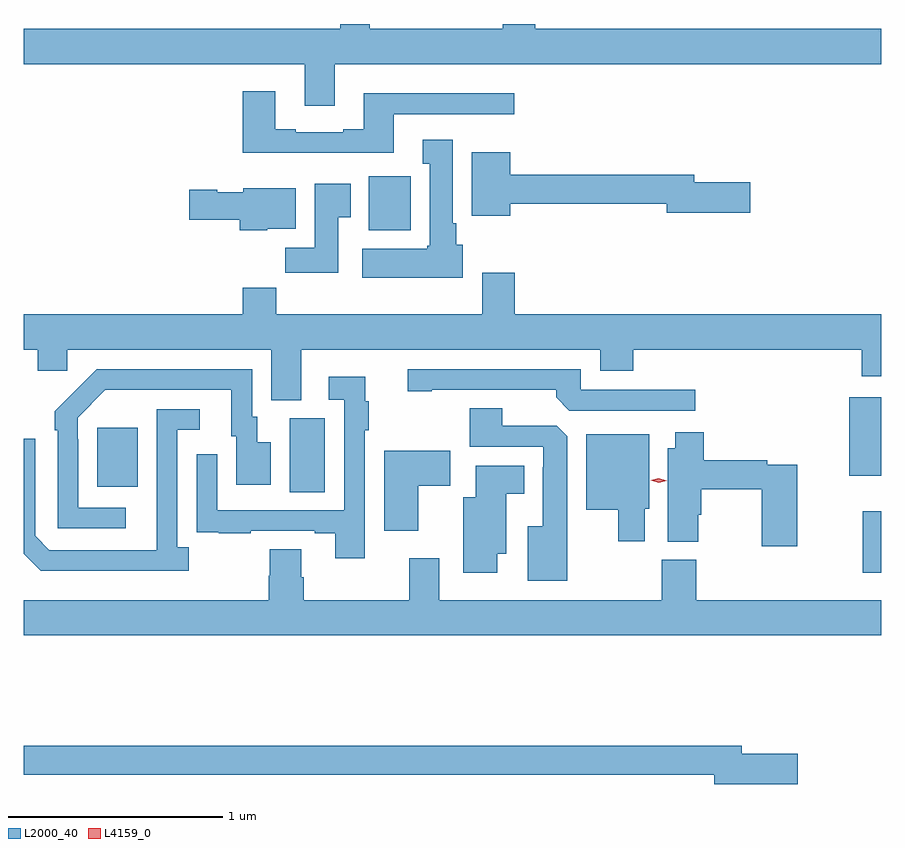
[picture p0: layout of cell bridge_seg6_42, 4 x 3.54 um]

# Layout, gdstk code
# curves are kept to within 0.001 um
import gdstk
lib = gdstk.Library(unit=1e-6, precision=1e-09)
def R(c, l, rs):  # rectangles x0, y0, x1, y1
    for r in rs: c.add(gdstk.rectangle(r[:2], r[2:], *l))
def P(c, l, *ps):  # polygons
    for p in ps: c.add(gdstk.Polygon(p, *l))
L2000_40 = (2000, 40)
L4159_0 = (4159, 0)

bridge_seg6_42 = lib.new_cell('bridge_seg6_42')
R(bridge_seg6_42, L2000_40, [(1128.628,994.248,1128.715,994.534), (1125.956,994.624,1126.12,994.968), (1125.059,994.649,1125.247,994.924), (1128.566,994.7,1128.715,995.065), (1126.325,995.846,1126.521,996.097)])
P(bridge_seg6_42, L2000_40, [(1126.165,996.62),(1128.715,996.62),(1128.715,996.784),(1127.101,996.784),(1127.101,996.807),(1126.949,996.807),(1126.949,996.784),(1126.328,996.784),(1126.328,996.807),(1126.192,996.807),(1126.192,996.784),(1124.715,996.784),(1124.715,996.62),(1126.025,996.62),(1126.025,996.426),(1126.165,996.426)],
  [(1126.441,996.387),(1127.002,996.387),(1127.002,996.484),(1126.301,996.484),(1126.301,996.316),(1126.205,996.316),(1126.205,996.303),(1125.985,996.303),(1125.985,996.316),(1125.889,996.316),(1125.889,996.493),(1125.737,996.493),(1125.737,996.206),(1126.441,996.206)],
  [(1126.762,995.778),(1126.732,995.778),(1126.732,995.878),(1126.717,995.878),(1126.717,996.268),(1126.577,996.268),(1126.577,996.155),(1126.61,996.155),(1126.61,995.772),(1126.597,995.772),(1126.597,995.758),(1126.293,995.758),(1126.293,995.624),(1126.762,995.624)],
  [(1126.984,995.968),(1127.714,995.968),(1127.714,995.926),(1128.103,995.926),(1128.103,996.068),(1127.842,996.068),(1127.842,996.104),(1126.984,996.104),(1126.984,996.208),(1126.805,996.208),(1126.805,995.912),(1126.984,995.912)],
  [(1126.183,995.905),(1126.24,995.905),(1126.24,996.061),(1126.073,996.061),(1126.073,995.764),(1125.934,995.764),(1125.934,995.646),(1126.183,995.646)],
  [(1125.852,995.852),(1125.985,995.852),(1125.985,996.04),(1125.738,996.04),(1125.738,996.022),(1125.618,996.022),(1125.618,996.035),(1125.486,996.035),(1125.486,995.893),(1125.722,995.893),(1125.722,995.846),(1125.852,995.846)],
  [(1126.009,995.288),(1127.405,995.288),(1127.405,995.189),(1127.558,995.189),(1127.558,995.288),(1128.623,995.288),(1128.623,995.164),(1128.715,995.164),(1128.715,995.452),(1127.006,995.452),(1127.006,995.647),(1126.853,995.647),(1126.853,995.452),(1125.893,995.452),(1125.893,995.576),(1125.737,995.576),(1125.737,995.452),(1124.715,995.452),(1124.715,995.288),(1124.78,995.288),(1124.78,995.19),(1124.919,995.19),(1124.919,995.288),(1125.869,995.288),(1125.869,995.053),(1126.009,995.053)],
  [(1125.19,994.551),(1124.97,994.551),(1124.97,994.871),(1124.967,994.871),(1124.967,994.971),(1125.096,995.1),(1125.683,995.1),(1125.683,994.884),(1125.707,994.884),(1125.707,994.659),(1125.868,994.659),(1125.868,994.855),(1125.805,994.855),(1125.805,994.974),(1125.78,994.974),(1125.78,995.196),(1125.056,995.196),(1124.859,995.001),(1124.859,994.913),(1124.874,994.913),(1124.874,994.455),(1125.19,994.455)],
  [(1127.848,995.1),(1127.313,995.1),(1127.313,995.196),(1126.506,995.196),(1126.506,995.095),(1126.618,995.095),(1126.618,995.1),(1127.198,995.1),(1127.198,995.066),(1127.259,995.004),(1127.848,995.004)],
  [(1126.305,994.912),(1126.325,994.912),(1126.325,995.048),(1126.307,995.048),(1126.307,995.161),(1126.137,995.161),(1126.137,995.055),(1126.209,995.055),(1126.209,994.539),(1125.618,994.539),(1125.618,994.801),(1125.522,994.801),(1125.522,994.546),(1125.523,994.546),(1125.523,994.437),(1125.625,994.437),(1125.625,994.431),(1125.773,994.431),(1125.773,994.443),(1126.073,994.443),(1126.073,994.431),(1126.169,994.431),(1126.169,994.314),(1126.305,994.314)],
  [(1127.251,994.883),(1127.202,994.932),(1126.948,994.932),(1126.948,995.015),(1126.796,995.015),(1126.796,994.836),(1127.139,994.836),(1127.139,994.739),(1127.135,994.739),(1127.135,994.465),(1127.066,994.465),(1127.066,994.211),(1127.251,994.211)],
  [(1125.484,994.366),(1125.432,994.366),(1125.432,994.914),(1125.535,994.914),(1125.535,995.01),(1125.336,995.01),(1125.335,994.353),(1124.835,994.353),(1124.769,994.419),(1124.769,994.873),(1124.715,994.873),(1124.715,994.335),(1124.794,994.256),(1125.484,994.256)],
  [(1128.324,994.752),(1128.182,994.752),(1128.182,994.772),(1127.888,994.772),(1127.888,994.903),(1127.753,994.903),(1127.753,994.828),(1127.72,994.828),(1127.72,994.393),(1127.862,994.393),(1127.862,994.518),(1127.875,994.518),(1127.875,994.636),(1128.158,994.636),(1128.158,994.371),(1128.324,994.371)],
  [(1127.611,994.545),(1127.632,994.545),(1127.632,994.894),(1127.339,994.894),(1127.339,994.541),(1127.489,994.541),(1127.489,994.395),(1127.611,994.395)],
  [(1126.555,994.654),(1126.705,994.654),(1126.705,994.816),(1126.397,994.816),(1126.397,994.443),(1126.555,994.443)],
  [(1126.924,994.337),(1126.966,994.337),(1126.966,994.616),(1127.05,994.616),(1127.05,994.747),(1126.823,994.747),(1126.823,994.6),(1126.766,994.6),(1126.766,994.248),(1126.924,994.248)],
  [(1128.715,994.12),(1127.852,994.12),(1127.852,994.308),(1127.692,994.308),(1127.692,994.12),(1126.654,994.12),(1126.654,994.315),(1126.514,994.315),(1126.514,994.12),(1126.022,994.12),(1126.022,994.226),(1126.009,994.226),(1126.009,994.358),(1125.862,994.358),(1125.862,994.233),(1125.857,994.233),(1125.857,994.12),(1124.715,994.12),(1124.715,993.956),(1128.715,993.956)],
  [(1128.325,993.404),(1128.064,993.404),(1128.064,993.44),(1124.715,993.44),(1124.715,993.304),(1127.936,993.304),(1127.936,993.262),(1128.325,993.262)])
P(bridge_seg6_42, L4159_0, [(1127.677,994.668),(1127.639,994.678),(1127.639,994.678),(1127.639,994.678),(1127.677,994.687),(1127.714,994.677),(1127.715,994.677),(1127.714,994.677)])

lib.write_gds('bridge_seg6_42.gds')
